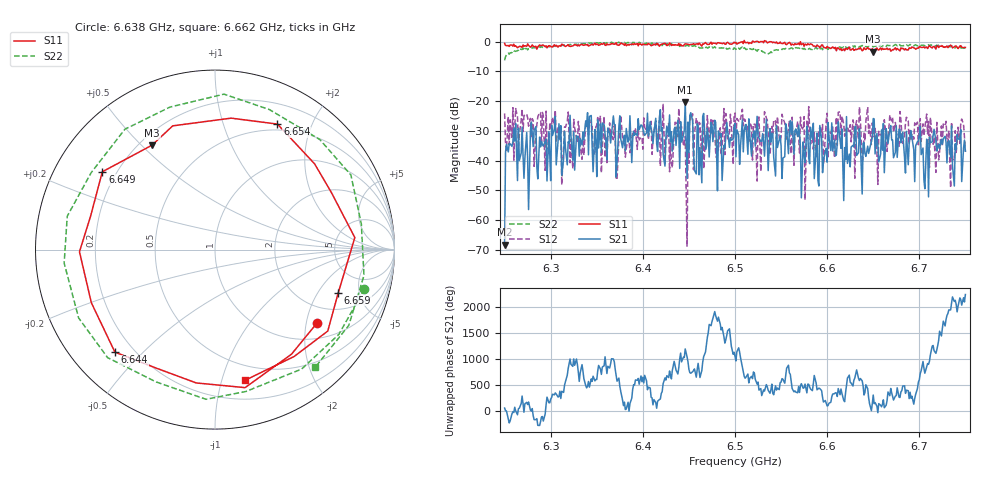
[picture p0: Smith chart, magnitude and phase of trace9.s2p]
# Hz S RI R 50
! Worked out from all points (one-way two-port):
!   401 points, 6.25 GHz to 6.75 GHz, reference 50 ohm
!   highest |S21| = -20.25 dB at 6.446 GHz (marker M1); lowest = -68.3 dB at 6.25 GHz (marker M2)
!   lowest |S11| = -3.4 dB at 6.65 GHz (marker M3), VSWR 5.24, Z = 12.5 + j26.9 ohm
!   |S11| at or under -10 dB: nowhere
!   |S22| runs from -6.3 to -0.2 dB; largest |S21 - S12| = 0.12
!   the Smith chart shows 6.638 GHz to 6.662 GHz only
!   S11 on the Smith chart (normalised r, x): 6.638 GHz: 1.43, -2.31; 6.644 GHz: 0.13, -0.42; 6.649 GHz: 0.15, +0.31; 6.654 GHz: 0.43, +1.53; 6.659 GHz: 3.03, -3.08; 6.662 GHz: 0.36, -1.19
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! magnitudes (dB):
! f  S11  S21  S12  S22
! 6.25 GHz  -0.6  -68.3  -24.1  -6.3
! 6.254 GHz  -1.3  -37.1  -25.2  -3.9
! 6.26 GHz  -0.9  -29.2  -39.8  -3.2
! 6.274 GHz  -1.6  -30.6  -24.3  -2.3
! 6.281 GHz  -1.6  -35.3  -26.4  -2.1
! 6.334 GHz  -0.9  -34.7  -39.5  -0.8
! 6.418 GHz  -1.5  -25.4  -26.5  -0.7
! 6.438 GHz  -1.2  -26.4  -32.0  -1.2
! 6.446 GHz  -0.8  -20.2  -31.9  -1.5
! 6.46 GHz  -1.0  -28.2  -34.1  -1.8
! 6.5 GHz  -0.4  -27.5  -24.0  -2.4
! 6.584 GHz  -1.0  -32.7  -30.9  -2.6
! 6.638 GHz  -3.1  -51.2  -40.8  -1.3
! 6.644 GHz  -2.0  -35.2  -22.0  -1.9
! 6.649 GHz  -2.4  -32.1  -27.3  -1.5
! 6.65 GHz  -3.4  -25.9  -29.7  -1.8
! 6.654 GHz  -2.1  -30.8  -36.5  -1.2
! 6.659 GHz  -2.8  -29.7  -31.1  -1.6
! 6.662 GHz  -2.5  -44.1  -26.3  -1.3
! 6.668 GHz  -2.4  -29.7  -24.7  -1.3
! 6.708 GHz  -1.8  -32.8  -24.3  -1.2
! 6.75 GHz  -2.0  -36.8  -37.1  -2.2
